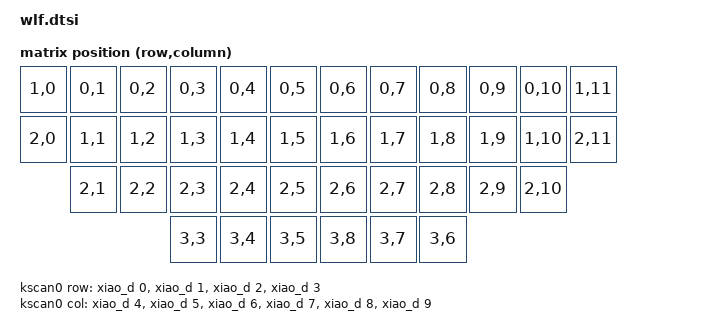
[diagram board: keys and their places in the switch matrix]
#include <dt-bindings/gpio/gpio.h>
#include <dt-bindings/zmk/matrix_transform.h>

/ {
    chosen {
        zmk,kscan = &kscan0;
        zmk,backlight = &backlight;
        zmk,physical-layout = &wlf_layout;
    };

    kscan0: kscan {
        compatible = "zmk,kscan-gpio-matrix";
        diode-direction = "col2row";
        wakeup-source;
        row-gpios = <&xiao_d 0 (GPIO_ACTIVE_HIGH | GPIO_PULL_DOWN)>,
                    <&xiao_d 1 (GPIO_ACTIVE_HIGH | GPIO_PULL_DOWN)>,
                    <&xiao_d 2 (GPIO_ACTIVE_HIGH | GPIO_PULL_DOWN)>,
                    <&xiao_d 3 (GPIO_ACTIVE_HIGH | GPIO_PULL_DOWN)>;
        col-gpios = <&xiao_d 4 GPIO_ACTIVE_HIGH>,
                    <&xiao_d 5 GPIO_ACTIVE_HIGH>,
                    <&xiao_d 6 GPIO_ACTIVE_HIGH>,
                    <&xiao_d 7 GPIO_ACTIVE_HIGH>,
                    <&xiao_d 8 GPIO_ACTIVE_HIGH>,
                    <&xiao_d 9 GPIO_ACTIVE_HIGH>;
    };

    /*
     * Each half has 20 keys in a 6 x 4 electrical matrix. The outer
     * column has switches on rows 1 and 2, mapped to the first two
     * logical rows. Main columns run left-to-right on both halves.
     * Left thumbs use columns 3, 4, 5; right thumbs use 2, 1, 0
     * in physical left-to-right order.
     * The right overlay applies col-offset = <6>.
     */
    wlf_transform: keymap_transform {
        compatible = "zmk,matrix-transform";
        columns = <12>;
        rows = <4>;
        map = <
            RC(1, 0) RC(0, 1) RC(0, 2) RC(0, 3) RC(0, 4) RC(0, 5)  RC(0, 6) RC(0, 7) RC(0, 8) RC(0, 9) RC(0,10) RC(1,11)
            RC(2, 0) RC(1, 1) RC(1, 2) RC(1, 3) RC(1, 4) RC(1, 5)  RC(1, 6) RC(1, 7) RC(1, 8) RC(1, 9) RC(1,10) RC(2,11)
                       RC(2, 1) RC(2, 2) RC(2, 3) RC(2, 4) RC(2, 5)  RC(2, 6) RC(2, 7) RC(2, 8) RC(2, 9) RC(2,10)
                                   RC(3, 3) RC(3, 4) RC(3, 5)  RC(3, 8) RC(3, 7) RC(3, 6)
        >;
    };

    wlf_layout: physical_layout {
        compatible = "zmk,physical-layout";
        display-name = "The Wolf";
        kscan = <&kscan0>;
        transform = <&wlf_transform>;
    };
};
